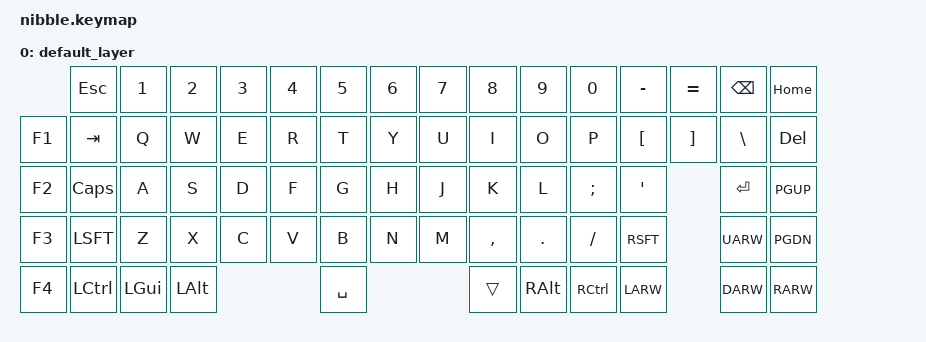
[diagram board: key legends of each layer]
/*
 * Copyright (c) 2020 The ZMK Contributors
 *
 * SPDX-License-Identifier: MIT
 */

#include <behaviors.dtsi>
#include <dt-bindings/zmk/keys.h>

/ {
    keymap {
        compatible = "zmk,keymap";
        
        default_layer {
            bindings = <
       &kp ESC  &kp NUM_1 &kp NUM_2 &kp NUM_3 &kp NUM_4 &kp NUM_5 &kp NUM_6 &kp NUM_7 &kp NUM_8 &kp NUM_9 &kp NUM_0 &kp MINUS &kp EQL  &kp BKSP &kp HOME
&kp F1 &kp TAB  &kp Q     &kp W     &kp E     &kp R     &kp T     &kp Y     &kp U     &kp I     &kp O     &kp P     &kp LBKT  &kp RBKT &kp BSLH &kp DEL  
&kp F2 &kp CLCK &kp A     &kp S     &kp D     &kp F     &kp G     &kp H     &kp J     &kp K     &kp L     &kp SCLN  &kp QUOT           &kp RET  &kp PGUP  
&kp F3 &kp LSFT &kp Z     &kp X     &kp C     &kp V     &kp B     &kp N     &kp M     &kp CMMA  &kp DOT   &kp FSLH  &kp RSFT           &kp UARW &kp PGDN
&kp F4 &kp LCTL &kp LGUI  &kp LALT                      &kp SPC                       &trans    &kp RALT  &kp RCTL  &kp LARW           &kp DARW &kp RARW
            >;
        };
    };
};
